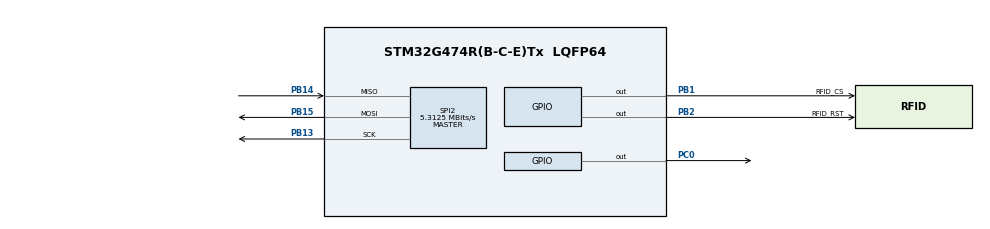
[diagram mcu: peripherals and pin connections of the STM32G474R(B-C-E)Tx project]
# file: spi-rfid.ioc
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Mcu.Family=STM32G4
Mcu.Name=STM32G474R(B-C-E)Tx
Mcu.Package=LQFP64
NUCLEO-G474RE.BUTTON=1
NUCLEO-G474RE.LD2=true
NUCLEO-G474RE.VCP=true
NVIC.EXTI15_10_IRQn=true\:0\:0\:false\:false\:true\:false\:true\:true
NVIC.PriorityGroup=NVIC_PRIORITYGROUP_4
PA13.GPIO_Label=T_SWDIO
PA13.Signal=SYS_JTMS-SWDIO
PA14.GPIO_Label=T_SWCLK
PA14.Signal=SYS_JTCK-SWCLK
PA2.Signal=LPUART1_TX
PA3.Signal=LPUART1_RX
PB1.GPIO_Label=RFID_CS
PB1.Signal=GPIO_Output
PB13.Mode=Full_Duplex_Master
PB13.Signal=SPI2_SCK
PB14.Mode=Full_Duplex_Master
PB14.Signal=SPI2_MISO
PB15.Mode=Full_Duplex_Master
PB15.Signal=SPI2_MOSI
PB2.GPIO_Label=RFID_RST
PB2.Signal=GPIO_Output
PB3.GPIO_Label=T_SWO
PB3.Signal=SYS_JTDO-SWO
PC0.Signal=GPIO_Output
PC14-OSC32_IN.GPIO_Label=RCC_OSC32_IN
PC14-OSC32_IN.Signal=RCC_OSC32_IN
PC15-OSC32_OUT.GPIO_Label=RCC_OSC32_OUT
PC15-OSC32_OUT.Signal=RCC_OSC32_OUT
PF0-OSC_IN.GPIO_Label=RCC_OSC_IN
PF0-OSC_IN.Signal=RCC_OSC_IN
PF1-OSC_OUT.GPIO_Label=RCC_OSC_OUT
PF1-OSC_OUT.Signal=RCC_OSC_OUT
ProjectManager.HeapSize=0x200
ProjectManager.StackSize=0x400
ProjectManager.TargetToolchain=STM32CubeIDE
RCC.ADC12Freq_Value=170000000
RCC.ADC345Freq_Value=170000000
RCC.AHBFreq_Value=170000000
RCC.APB1Freq_Value=170000000
RCC.APB1TimFreq_Value=170000000
RCC.APB2Freq_Value=170000000
RCC.APB2TimFreq_Value=170000000
RCC.CortexFreq_Value=170000000
RCC.EXTERNAL_CLOCK_VALUE=12288000
RCC.HCLKFreq_Value=170000000
RCC.HSE_VALUE=24000000
RCC.HSI48_VALUE=48000000
RCC.HSI_VALUE=16000000
RCC.LSE_VALUE=32768
RCC.PLLM=RCC_PLLM_DIV4
RCC.PLLN=85
RCC.RTCClockSelection=RCC_RTCCLKSOURCE_LSE
RCC.SYSCLKFreq_VALUE=170000000
RCC.SYSCLKSource=RCC_SYSCLKSOURCE_PLLCLK
RCC.USBFreq_Value=170000000
RCC.VCOOutputFreq_Value=340000000
SPI2.BaudRatePrescaler=SPI_BAUDRATEPRESCALER_32
SPI2.CalculateBaudRate=5.3125 MBits/s
SPI2.DataSize=SPI_DATASIZE_8BIT
SPI2.Direction=SPI_DIRECTION_2LINES
SPI2.Mode=SPI_MODE_MASTER
SPI2.VirtualType=VM_MASTER
VP_NUCLEO-G474RE_VS_BSP_COMMON.Mode=COMMON
VP_SYS_VS_DBSignals.Mode=DisableDeadBatterySignals
board=NUCLEO-G474RE

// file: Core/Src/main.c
/**
  ******************************************************************************
  * @file           : main.c
  * @brief          : Main program body
  ******************************************************************************
  * @attention
  *
  * Copyright (c) 2025 STMicroelectronics.
  * All rights reserved.
  *
  * This software is licensed under terms that can be found in the LICENSE file
  * in the root directory of this software component.
  * If no LICENSE file comes with this software, it is provided AS-IS.
  *
  ******************************************************************************
  */

#include "main.h"
#include "spi.h"
#include "gpio.h"

/* USER CODE BEGIN Includes */
#include "MFRC522.h"
/* USER CODE END Includes */

COM_InitTypeDef BspCOMInit;

void SystemClock_Config(void);

/* USER CODE BEGIN 0 */
int validate (uint8_t *uid)
{
	uint8_t tag_uid[] = {0xC3, 0xB1, 0xE6, 0x1B, 0x8F};

	for (uint8_t i = 0; i < 5; ++i)
	{
		if (uid[i] != tag_uid[i])
			return 0;
	}

	return 1;
}

/* stupid way to get card UID if a serial debugger or LCD isn't available */
void get_uid_helper(uint8_t *card_uid)
{
	uint8_t temp1, temp2;

	// card uid [0:5] = C3 B1 E6 1B 8F
	for (uint8_t i = 0; i < 5; ++i)
	{
		temp1 = card_uid[i];
		for (uint8_t j = 0; j < 8; ++j)
		{
			LL_GPIO_SetOutputPin(GPIOA, LL_GPIO_PIN_1);
			temp2 = (temp1 & 0x80);
			if (temp2)
				LL_GPIO_SetOutputPin(GPIOA, LL_GPIO_PIN_0);
			LL_mDelay(1000);
			LL_GPIO_ResetOutputPin(GPIOA, LL_GPIO_PIN_0);
			LL_GPIO_ResetOutputPin(GPIOA, LL_GPIO_PIN_1);
			LL_mDelay(1000);
			temp1 <<= 1;
		}
	}
}

/* USER CODE END 0 */

int main(void)
{
	/* USER CODE BEGIN 1 */
	uint8_t buf_atqa[2], uid[5];
	/* USER CODE END 1 */

	/* MCU Configuration--------------------------------------------------------*/

	/* Reset of all peripherals, Initializes the Flash interface and the Systick. */
	HAL_Init();

	/* Configure the system clock */
	SystemClock_Config();

	/* Initialize all configured peripherals */
	MX_GPIO_Init();
	MX_SPI2_Init();
	/* USER CODE BEGIN 2 */
	MFRC522_init();
	/* USER CODE END 2 */

	// init PORTA as off
	LL_GPIO_ResetOutputPin(GPIOA, 0xFF);

	/* Infinite loop */
	/* USER CODE BEGIN WHILE */
	while (1)
	{
		// check if card is in the field
		if (MFRC522_request(buf_atqa) == STATUS_OK)
		{
			// if present, read UID
			if (MFRC522_anticoll(uid) == STATUS_OK)
			{

				// check if scanned UID matches
				if (validate(uid))
				{
					LL_GPIO_SetOutputPin(GPIOA, 0xFF);
					LL_mDelay(5000);
					LL_GPIO_ResetOutputPin(GPIOA, 0xFF);
				}

				else
				{
					for (uint8_t i = 0; i < 5; ++i)
					{
						LL_GPIO_SetOutputPin(GPIOA, 0xFF);
						LL_mDelay(500);
						LL_GPIO_ResetOutputPin(GPIOA, 0xFF);
						LL_mDelay(500);
					}
				}
			}
		}
	}
	/* USER CODE END 3 */
}

void SystemClock_Config(void)
{
	LL_FLASH_SetLatency(LL_FLASH_LATENCY_4);
	while(LL_FLASH_GetLatency() != LL_FLASH_LATENCY_4)
	{
	}
	LL_PWR_EnableRange1BoostMode();
	LL_RCC_HSI_Enable();
	/* Wait till HSI is ready */
	while(LL_RCC_HSI_IsReady() != 1)
	{
	}

	LL_RCC_HSI_SetCalibTrimming(64);
	LL_RCC_PLL_ConfigDomain_SYS(LL_RCC_PLLSOURCE_HSI, LL_RCC_PLLM_DIV_4, 85, LL_RCC_PLLR_DIV_2);
	LL_RCC_PLL_EnableDomain_SYS();
	LL_RCC_PLL_Enable();
	/* Wait till PLL is ready */
	while(LL_RCC_PLL_IsReady() != 1)
	{
	}

	LL_RCC_SetSysClkSource(LL_RCC_SYS_CLKSOURCE_PLL);
	LL_RCC_SetAHBPrescaler(LL_RCC_SYSCLK_DIV_2);
	/* Wait till System clock is ready */
	while(LL_RCC_GetSysClkSource() != LL_RCC_SYS_CLKSOURCE_STATUS_PLL)
	{
	}

	/* Insure 1us transition state at intermediate medium speed clock*/
	for (__IO uint32_t i = (170 >> 1); i !=0; i--);

	/* Set AHB prescaler*/
	LL_RCC_SetAHBPrescaler(LL_RCC_SYSCLK_DIV_1);
	LL_RCC_SetAPB1Prescaler(LL_RCC_APB1_DIV_1);
	LL_RCC_SetAPB2Prescaler(LL_RCC_APB2_DIV_1);
	LL_SetSystemCoreClock(170000000);

	/* Update the time base */
	if (HAL_InitTick (TICK_INT_PRIORITY) != HAL_OK)
	{
		Error_Handler();
	}
}

void Error_Handler(void)
{
	// do nothing
}
